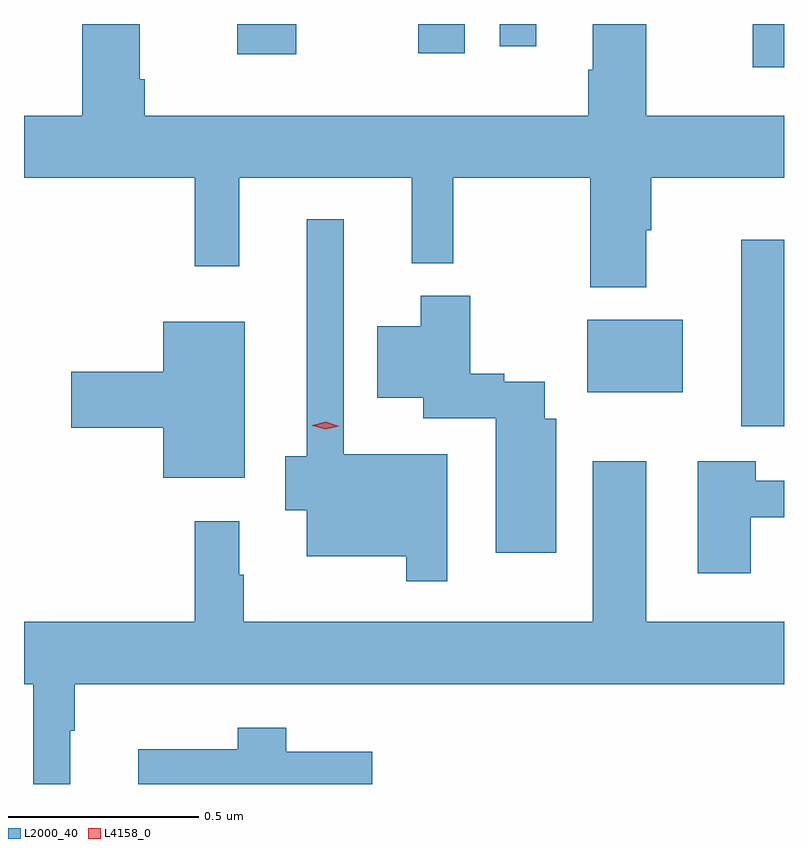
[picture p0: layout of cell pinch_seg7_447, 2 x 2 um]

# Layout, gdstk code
import gdstk
lib = gdstk.Library(unit=1e-6, precision=1e-09)
def R(c, l, rs):  # rectangles x0, y0, x1, y1
    for r in rs: c.add(gdstk.rectangle(r[:2], r[2:], *l))
def P(c, l, *ps):  # polygons
    for p in ps: c.add(gdstk.Polygon(p, *l))
L2000_40 = (2000, 40)
L4158_0 = (4158, 0)

pinch_seg7_447 = lib.new_cell('pinch_seg7_447')
R(pinch_seg7_447, L2000_40, [(324.941,1058.571,325.054,1059.061), (324.536,1058.66,324.787,1058.851), (324.972,1059.515,325.054,1059.629), (323.615,1059.549,323.77,1059.629), (324.092,1059.552,324.214,1059.629), (324.306,1059.57,324.402,1059.629)])
P(pinch_seg7_447, L2000_40, [(324.691,1059.086),(324.704,1059.086),(324.704,1059.224),(325.054,1059.224),(325.054,1059.388),(324.691,1059.388),(324.691,1059.629),(324.551,1059.629),(324.551,1059.509),(324.539,1059.509),(324.539,1059.388),(323.372,1059.388),(323.372,1059.484),(323.359,1059.484),(323.359,1059.629),(323.207,1059.629),(323.207,1059.388),(323.054,1059.388),(323.054,1059.224),(323.503,1059.224),(323.503,1058.991),(323.621,1058.991),(323.621,1059.224),(324.074,1059.224),(324.074,1058.999),(324.184,1058.999),(324.184,1059.224),(324.544,1059.224),(324.544,1058.936),(324.691,1058.936)],
  [(324.168,1058.497),(323.895,1058.497),(323.895,1059.115),(323.798,1059.115),(323.798,1058.492),(323.741,1058.492),(323.741,1058.35),(323.798,1058.35),(323.798,1058.228),(324.06,1058.228),(324.06,1058.163),(324.168,1058.163)],
  [(324.454,1058.59),(324.424,1058.59),(324.424,1058.688),(324.318,1058.688),(324.318,1058.708),(324.228,1058.708),(324.228,1058.914),(324.098,1058.914),(324.098,1058.833),(323.984,1058.833),(323.984,1058.645),(324.104,1058.645),(324.104,1058.592),(324.296,1058.592),(324.296,1058.238),(324.454,1058.238)],
  [(323.635,1058.845),(323.42,1058.845),(323.42,1058.714),(323.178,1058.714),(323.178,1058.567),(323.42,1058.567),(323.42,1058.435),(323.635,1058.435)],
  [(324.967,1058.331),(325.054,1058.331),(325.054,1058.427),(324.98,1058.427),(324.98,1058.479),(324.827,1058.479),(324.827,1058.184),(324.967,1058.184)],
  [(323.176,1057.769),(323.188,1057.769),(323.188,1057.892),(325.054,1057.892),(325.054,1058.056),(324.691,1058.056),(324.691,1058.479),(324.551,1058.479),(324.551,1058.056),(323.632,1058.056),(323.632,1058.18),(323.62,1058.18),(323.62,1058.32),(323.503,1058.32),(323.503,1058.056),(323.054,1058.056),(323.054,1057.892),(323.078,1057.892),(323.078,1057.629),(323.176,1057.629)],
  [(323.971,1057.714),(323.744,1057.714),(323.744,1057.777),(323.616,1057.777),(323.616,1057.72),(323.354,1057.72),(323.354,1057.629),(323.971,1057.629)])
P(pinch_seg7_447, L4158_0, [(323.848,1058.562),(323.812,1058.572),(323.812,1058.573),(323.812,1058.573),(323.848,1058.582),(323.884,1058.571),(323.884,1058.571),(323.884,1058.571)])

lib.write_gds('pinch_seg7_447.gds')
